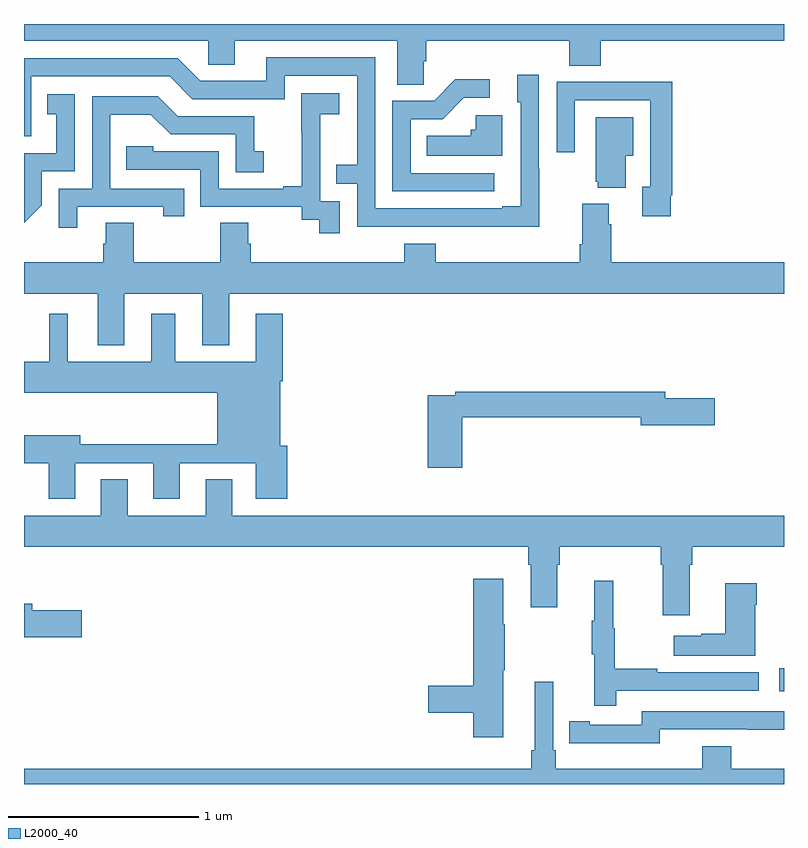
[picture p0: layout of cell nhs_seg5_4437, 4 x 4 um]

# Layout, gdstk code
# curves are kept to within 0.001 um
import gdstk
lib = gdstk.Library(unit=1e-6, precision=1e-09)
def R(c, l, rs):  # rectangles x0, y0, x1, y1
    for r in rs: c.add(gdstk.rectangle(r[:2], r[2:], *l))
def P(c, l, *ps):  # polygons
    for p in ps: c.add(gdstk.Polygon(p, *l))
L2000_40 = (2000, 40)

nhs_seg5_4437 = lib.new_cell('nhs_seg5_4437')
R(nhs_seg5_4437, L2000_40, [(374.976,901.287,375,901.407)])
P(nhs_seg5_4437, L2000_40, [(373.104,904.603),(373.118,904.603),(373.118,904.712),(373.871,904.712),(373.871,904.579),(374.036,904.579),(374.036,904.712),(375,904.712),(375,904.799),(371,904.799),(371,904.712),(371.97,904.712),(371.97,904.585),(372.109,904.585),(372.109,904.712),(372.965,904.712),(372.965,904.48),(373.104,904.48)],
  [(373.713,904.037),(373.71,904.037),(373.71,904.531),(373.595,904.531),(373.595,904.386),(373.614,904.386),(373.614,903.841),(373.517,903.841),(373.517,903.828),(372.849,903.828),(372.849,904.623),(372.275,904.623),(372.275,904.5),(371.928,904.5),(371.808,904.62),(371,904.62),(371,904.209),(371.037,904.209),(371.037,904.524),(371.766,904.524),(371.886,904.404),(372.372,904.404),(372.372,904.527),(372.753,904.527),(372.753,904.058),(372.643,904.058),(372.643,903.957),(372.753,903.957),(372.753,903.732),(373.713,903.731)],
  [(373.474,904.014),(373.035,904.014),(373.035,904.299),(373.204,904.299),(373.315,904.41),(373.45,904.41),(373.45,904.508),(373.271,904.508),(373.158,904.395),(372.939,904.395),(372.939,903.918),(373.474,903.918)],
  [(374.404,903.898),(374.411,903.898),(374.411,904.496),(374.119,904.496),(374.119,904.494),(373.803,904.494),(373.803,904.125),(373.899,904.125),(373.899,904.398),(374.295,904.398),(374.295,903.942),(374.255,903.942),(374.255,903.786),(374.404,903.786)],
  [(372.663,903.867),(372.558,903.867),(372.558,904.097),(372.56,904.097),(372.56,904.325),(372.658,904.325),(372.658,904.435),(372.46,904.435),(372.46,904.229),(372.461,904.229),(372.461,903.946),(372.365,903.946),(372.365,903.933),(372.024,903.933),(372.024,904.128),(371.679,904.128),(371.679,904.155),(371.539,904.155),(371.539,904.032),(371.928,904.032),(371.928,903.837),(372.462,903.837),(372.462,903.769),(372.555,903.769),(372.555,903.699),(372.663,903.699)],
  [(371.094,903.846),(371.094,904.023),(371.268,904.023),(371.268,904.429),(371.122,904.429),(371.122,904.323),(371.171,904.323),(371.171,904.119),(371,904.119),(371,903.753)],
  [(371.281,903.837),(371.732,903.837),(371.732,903.786),(371.843,903.786),(371.843,903.933),(371.454,903.933),(371.454,904.322),(371.668,904.322),(371.772,904.218),(372.114,904.218),(372.114,904.02),(372.262,904.02),(372.262,904.129),(372.213,904.129),(372.213,904.314),(371.809,904.314),(371.704,904.419),(371.358,904.419),(371.358,903.933),(371.184,903.933),(371.184,903.726),(371.281,903.726)],
  [(373.516,904.318),(373.377,904.318),(373.377,904.242),(373.351,904.242),(373.351,904.21),(373.12,904.21),(373.12,904.106),(373.516,904.106)],
  [(374.167,904.106),(374.206,904.106),(374.206,904.309),(374.009,904.309),(374.009,903.969),(374.021,903.969),(374.021,903.938),(374.167,903.938)],
  [(371.527,903.38),(371.939,903.38),(371.939,903.107),(372.079,903.107),(372.079,903.38),(375,903.38),(375,903.544),(374.09,903.544),(374.09,903.746),(374.077,903.746),(374.077,903.853),(373.937,903.853),(373.937,903.64),(373.925,903.64),(373.925,903.544),(373.166,903.544),(373.166,903.643),(373.001,903.643),(373.001,903.544),(372.194,903.544),(372.194,903.642),(372.181,903.642),(372.181,903.752),(372.034,903.752),(372.034,903.544),(371.577,903.544),(371.577,903.752),(371.429,903.752),(371.429,903.642),(371.417,903.642),(371.417,903.544),(371,903.544),(371,903.38),(371.387,903.38),(371.387,903.107),(371.527,903.107)],
  [(371.269,902.487),(371.681,902.487),(371.681,902.301),(371.821,902.301),(371.821,902.487),(372.221,902.487),(372.221,902.301),(372.386,902.301),(372.386,902.58),(372.349,902.58),(372.349,902.918),(372.362,902.918),(372.362,903.274),(372.221,903.274),(372.221,903.022),(371.797,903.022),(371.797,903.274),(371.669,903.274),(371.669,903.022),(371.23,903.022),(371.23,903.274),(371.132,903.274),(371.132,903.022),(371,903.022),(371,902.858),(372.017,902.858),(372.017,902.588),(371.296,902.588),(371.296,902.635),(371,902.635),(371,902.487),(371.129,902.487),(371.129,902.301),(371.269,902.301)],
  [(373.307,902.728),(374.246,902.728),(374.246,902.686),(374.635,902.686),(374.635,902.828),(374.374,902.828),(374.374,902.864),(373.27,902.864),(373.27,902.844),(373.124,902.844),(373.124,902.463),(373.307,902.463)],
  [(374.503,901.952),(374.516,901.952),(374.516,902.048),(375,902.048),(375,902.212),(372.097,902.212),(372.097,902.402),(371.957,902.402),(371.957,902.212),(371.545,902.212),(371.545,902.402),(371.405,902.402),(371.405,902.212),(371,902.212),(371,902.048),(373.655,902.048),(373.655,901.952),(373.667,901.952),(373.667,901.728),(373.807,901.728),(373.807,901.952),(373.82,901.952),(373.82,902.048),(374.351,902.048),(374.351,901.952),(374.363,901.952),(374.363,901.686),(374.503,901.686)],
  [(373.522,901.399),(373.53,901.399),(373.53,901.64),(373.522,901.64),(373.522,901.879),(373.364,901.879),(373.364,901.316),(373.128,901.316),(373.128,901.174),(373.364,901.174),(373.364,901.044),(373.522,901.044)],
  [(374.117,901.29),(374.866,901.29),(374.866,901.386),(374.333,901.386),(374.333,901.406),(374.11,901.406),(374.11,901.62),(374.102,901.62),(374.102,901.87),(374,901.87),(374,901.657),(373.989,901.657),(373.989,901.483),(374,901.483),(374,901.212),(374.117,901.212)],
  [(374.848,901.742),(374.856,901.742),(374.856,901.855),(374.69,901.855),(374.69,901.589),(374.564,901.589),(374.564,901.579),(374.421,901.579),(374.421,901.475),(374.848,901.475)],
  [(371.305,901.713),(371.044,901.713),(371.044,901.747),(371,901.747),(371,901.571),(371.305,901.571)],
  [(375,900.88),(374.723,900.88),(374.723,900.997),(374.57,900.997),(374.57,900.88),(373.799,900.88),(373.799,900.976),(373.785,900.976),(373.785,901.336),(373.688,901.336),(373.688,900.976),(373.669,900.976),(373.669,900.88),(371,900.88),(371,900.799),(375,900.799)],
  [(374.346,901.086),(374.806,901.086),(374.806,901.085),(375,901.085),(375,901.182),(374.25,901.182),(374.25,901.11),(373.978,901.11),(373.978,901.13),(373.87,901.13),(373.87,901.014),(373.978,901.014),(373.978,901.013),(374.346,901.013)])

lib.write_gds('nhs_seg5_4437.gds')
